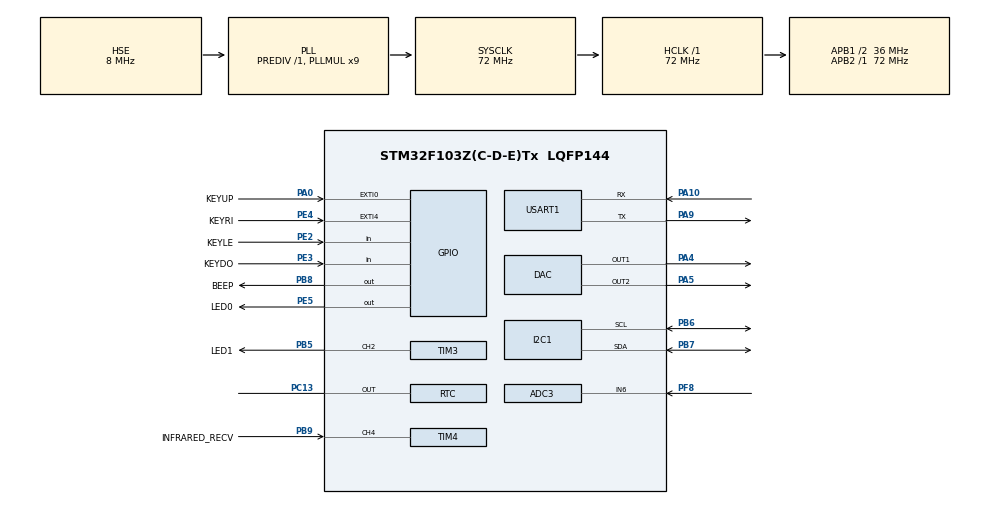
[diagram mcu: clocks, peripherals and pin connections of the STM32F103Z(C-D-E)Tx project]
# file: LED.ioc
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ADC1.Channel-2\#ChannelRegularConversion=ADC_CHANNEL_TEMPSENSOR
ADC1.NbrOfConversionFlag=1
ADC1.Rank-2\#ChannelRegularConversion=1
ADC1.SamplingTime-2\#ChannelRegularConversion=ADC_SAMPLETIME_1CYCLE_5
ADC1.master=1
ADC3.Channel-0\#ChannelRegularConversion=ADC_CHANNEL_6
ADC3.NbrOfConversionFlag=1
ADC3.Rank-0\#ChannelRegularConversion=1
ADC3.SamplingTime-0\#ChannelRegularConversion=ADC_SAMPLETIME_1CYCLE_5
DAC.DAC_Trigger2=DAC_TRIGGER_T2_TRGO
DAC.TriangleAmplitude2=DAC_TRIANGLEAMPLITUDE_4095
DAC.WaveGeneration2=TriangleWaveGeneration
Dma.ADC1.1.Direction=DMA_PERIPH_TO_MEMORY
Dma.ADC1.1.Instance=DMA1_Channel1
Dma.ADC1.1.MemDataAlignment=DMA_MDATAALIGN_HALFWORD
Dma.ADC1.1.MemInc=DMA_MINC_ENABLE
Dma.ADC1.1.Mode=DMA_CIRCULAR
Dma.ADC1.1.PeriphDataAlignment=DMA_PDATAALIGN_HALFWORD
Dma.ADC1.1.PeriphInc=DMA_PINC_DISABLE
Dma.ADC1.1.Priority=DMA_PRIORITY_LOW
Dma.ADC3.0.Direction=DMA_PERIPH_TO_MEMORY
Dma.ADC3.0.Instance=DMA2_Channel5
Dma.ADC3.0.MemDataAlignment=DMA_MDATAALIGN_HALFWORD
Dma.ADC3.0.MemInc=DMA_MINC_ENABLE
Dma.ADC3.0.Mode=DMA_CIRCULAR
Dma.ADC3.0.PeriphDataAlignment=DMA_PDATAALIGN_HALFWORD
Dma.ADC3.0.PeriphInc=DMA_PINC_DISABLE
Dma.ADC3.0.Priority=DMA_PRIORITY_LOW
Dma.Request0=ADC3
Dma.Request1=ADC1
Mcu.Family=STM32F1
Mcu.Name=STM32F103Z(C-D-E)Tx
Mcu.Package=LQFP144
NVIC.DMA1_Channel1_IRQn=true\:0\:0\:false\:false\:true\:false\:true
NVIC.DMA2_Channel4_5_IRQn=true\:0\:0\:false\:false\:true\:false\:true
NVIC.EXTI0_IRQn=true\:0\:0\:true\:false\:true\:true\:true
NVIC.EXTI4_IRQn=true\:0\:0\:false\:false\:true\:true\:true
NVIC.PriorityGroup=NVIC_PRIORITYGROUP_4
NVIC.RTC_IRQn=true\:0\:0\:false\:false\:true\:true\:true
NVIC.TIM4_IRQn=true\:0\:0\:false\:false\:true\:true\:true
NVIC.USART1_IRQn=true\:1\:0\:true\:false\:true\:true\:true
OSC_IN.Mode=HSE-External-Oscillator
OSC_IN.Signal=RCC_OSC_IN
OSC_OUT.Mode=HSE-External-Oscillator
OSC_OUT.Signal=RCC_OSC_OUT
PA0-WKUP.GPIO_Label=KEYUP
PA0-WKUP.GPIO_ModeDefaultEXTI=GPIO_MODE_IT_RISING
PA0-WKUP.GPIO_PuPd=GPIO_PULLDOWN
PA0-WKUP.Signal=GPXTI0
PA10.Mode=Asynchronous
PA10.Signal=USART1_RX
PA13.Mode=Serial_Wire
PA13.Signal=SYS_JTMS-SWDIO
PA14.Mode=Serial_Wire
PA14.Signal=SYS_JTCK-SWCLK
PA4.Signal=COMP_DAC1_group
PA5.Signal=COMP_DAC2_group
PA9.Mode=Asynchronous
PA9.Signal=USART1_TX
PB5.GPIO_Label=LED1
PB5.GPIO_ModeDefaultPP=GPIO_MODE_AF_PP
PB5.Signal=S_TIM3_CH2
PB6.Mode=I2C
PB6.Signal=I2C1_SCL
PB7.Mode=I2C
PB7.Signal=I2C1_SDA
PB8.GPIO_Label=BEEP
PB8.Signal=GPIO_Output
PB9.GPIO_Label=INFRARED_RECV
PB9.GPIO_PuPd=GPIO_NOPULL
PB9.Signal=S_TIM4_CH4
PC13-TAMPER-RTC.Mode=RTC OUT
PC13-TAMPER-RTC.Signal=RTC_OUT
PC14-OSC32_IN.Mode=LSE-External-Oscillator
PC14-OSC32_IN.Signal=RCC_OSC32_IN
PC15-OSC32_OUT.Mode=LSE-External-Oscillator
PC15-OSC32_OUT.Signal=RCC_OSC32_OUT
PE2.GPIO_Label=KEYLE
PE2.GPIO_PuPd=GPIO_PULLUP
PE2.Signal=GPIO_Input
PE3.GPIO_Label=KEYDO
PE3.GPIO_PuPd=GPIO_PULLUP
PE3.Signal=GPIO_Input
PE4.GPIO_Label=KEYRI
PE4.GPIO_PuPd=GPIO_PULLUP
PE4.Signal=GPXTI4
PE5.GPIO_Label=LED0
PE5.PinState=GPIO_PIN_SET
PE5.Signal=GPIO_Output
PF8.Mode=IN6
PF8.Signal=ADC3_IN6
ProjectManager.HeapSize=0x200
ProjectManager.StackSize=0x400
ProjectManager.TargetToolchain=MDK-ARM V5.27
RCC.ADCPresc=RCC_ADCPCLK2_DIV6
RCC.AHBFreq_Value=72000000
RCC.APB1CLKDivider=RCC_HCLK_DIV2
RCC.APB1Freq_Value=36000000
RCC.APB1TimFreq_Value=72000000
RCC.APB2Freq_Value=72000000
RCC.APB2TimFreq_Value=72000000
RCC.HCLKFreq_Value=72000000
RCC.PLLMUL=RCC_PLL_MUL9
RCC.PLLSourceVirtual=RCC_PLLSOURCE_HSE
RCC.RTCClockSelection=RCC_RTCCLKSOURCE_LSE
RCC.SYSCLKFreq_VALUE=72000000
RCC.SYSCLKSource=RCC_SYSCLKSOURCE_PLLCLK
RCC.USBFreq_Value=72000000
RTC.Date=18
RTC.Hours=9
RTC.Minutes=47
RTC.Month=RTC_MONTH_MARCH
RTC.WeekDay=RTC_WEEKDAY_WEDNESDAY
RTC.Year=32
SH.COMP_DAC1_group.0=DAC_OUT1,DAC_OUT1
SH.COMP_DAC2_group.0=DAC_OUT2,DAC_OUT2
SH.S_TIM3_CH2.0=TIM3_CH2,PWM Generation2 CH2
SH.S_TIM4_CH4.0=TIM4_CH4,Input_Capture4_from_TI4
TIM3.AutoReloadPreload=TIM_AUTORELOAD_PRELOAD_ENABLE
TIM3.Channel-PWM\ Generation2\ CH2=TIM_CHANNEL_2
TIM3.OC2Preload_PWM=DISABLE
TIM3.OCPolarity_2=TIM_OCPOLARITY_LOW
TIM3.Period=500
TIM3.Prescaler=720-1
TIM4.Channel-Input_Capture4_from_TI4=TIM_CHANNEL_4
TIM4.ICFilter_CH4=0
TIM4.Period=10000
TIM4.Prescaler=72-1
TIM4.TIM_MasterOutputTrigger=TIM_TRGO_RESET
USART1.VirtualMode=VM_ASYNC
VP_ADC1_TempSens_Input.Mode=IN-TempSens
VP_RTC_VS_RTC_Activate.Mode=RTC_Enabled
board=custom

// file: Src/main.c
/* USER CODE BEGIN Header */
/**
  ******************************************************************************
  * @file           : main.c
  * @brief          : Main program body
  ******************************************************************************
  * @attention
  *
  * <h2><center>&copy; Copyright (c) 2020 STMicroelectronics.
  * All rights reserved.</center></h2>
  *
  * This software component is licensed by ST under BSD 3-Clause license,
  * the "License"; You may not use this file except in compliance with the
  * License. You may obtain a copy of the License at:
  *                        opensource.org/licenses/BSD-3-Clause
  *
  ******************************************************************************
  */
/* USER CODE END Header */

#include "main.h"
#include "adc.h"
#include "dac.h"
#include "dma.h"
#include "i2c.h"
#include "rtc.h"
#include "tim.h"
#include "usart.h"
#include "gpio.h"

/* USER CODE BEGIN Includes */
#include "bsp_key.h"
#include "bsp_uart.h"
#include "bsp_dac.h"
#include "bsp_pwm.h"
#include "global_variable.h"
#include "tool.h"
#include "string.h"
#include "module_basedevice.h"
#include "app_key.h"
#include "app_pwm.h"
#include "app_adc.h"
#include "app_i2c.h"

/* USER CODE END Includes */

void SystemClock_Config(void);

int main(void)
{
  /* USER CODE BEGIN 1 */
	uint16_t i;
  /* USER CODE END 1 */

  /* MCU Configuration--------------------------------------------------------*/

  /* Reset of all peripherals, Initializes the Flash interface and the Systick. */
  HAL_Init();

  /* Configure the system clock */
  SystemClock_Config();

  /* Initialize all configured peripherals */
  MX_GPIO_Init();
  MX_USART1_UART_Init();
  MX_RTC_Init();
  MX_ADC1_Init();
  MX_ADC3_Init();
  MX_DAC_Init();
  MX_DMA_Init();
  MX_I2C1_Init();
  MX_TIM3_Init();
  MX_TIM4_Init();
  /* USER CODE BEGIN 2 */
	Moudle_Base_Init();
	USER_PRINTF("%s", BOOTLOGO);

  /* USER CODE END 2 */

  /* Infinite loop */
  while (1)
  {

    /* USER CODE BEGIN 3 */
#if(SERIALPORT)
		if(SERIALPORT_RECVBUFF.flag > 0)
		{
#if(DEBUG_MODE)
			for(i = 0; i < SERIALPORT_RECVBUFF.count; i++)
      {
				printf("%c", SERIALPORT_RECVBUFF.buff[i]);
      }
			printf("\r\n");
#endif //DEBUG_MODE
			SERIALPORT_RECVBUFF.flag--;
			SERIALPORT_RECVBUFF.count = 0;
			memset(SERIALPORT_RECVBUFF.buff, 0, SERIALPORT_RECVBUFF.count);
		}
#endif //SERIALPORT
		HAL_GPIO_TogglePin(LED0_GPIO_Port, LED0_Pin);
		HAL_Delay(1000);
//		App_Temperature_Light_Poll();
//		App_Temperature_Light_Dma();
//		App_Led_Pwm();
//		App_Infrared_Remote();
	}
  /* USER CODE END 3 */
}

void SystemClock_Config(void)
{
  RCC_OscInitTypeDef RCC_OscInitStruct = {0};
  RCC_ClkInitTypeDef RCC_ClkInitStruct = {0};
  RCC_PeriphCLKInitTypeDef PeriphClkInit = {0};

  /** Initializes the CPU, AHB and APB busses clocks
  */
  RCC_OscInitStruct.OscillatorType = RCC_OSCILLATORTYPE_HSE|RCC_OSCILLATORTYPE_LSE;
  RCC_OscInitStruct.HSEState = RCC_HSE_ON;
  RCC_OscInitStruct.HSEPredivValue = RCC_HSE_PREDIV_DIV1;
  RCC_OscInitStruct.LSEState = RCC_LSE_ON;
  RCC_OscInitStruct.HSIState = RCC_HSI_ON;
  RCC_OscInitStruct.PLL.PLLState = RCC_PLL_ON;
  RCC_OscInitStruct.PLL.PLLSource = RCC_PLLSOURCE_HSE;
  RCC_OscInitStruct.PLL.PLLMUL = RCC_PLL_MUL9;
  if (HAL_RCC_OscConfig(&RCC_OscInitStruct) != HAL_OK)
  {
    Error_Handler();
  }
  /** Initializes the CPU, AHB and APB busses clocks
  */
  RCC_ClkInitStruct.ClockType = RCC_CLOCKTYPE_HCLK|RCC_CLOCKTYPE_SYSCLK
                              |RCC_CLOCKTYPE_PCLK1|RCC_CLOCKTYPE_PCLK2;
  RCC_ClkInitStruct.SYSCLKSource = RCC_SYSCLKSOURCE_PLLCLK;
  RCC_ClkInitStruct.AHBCLKDivider = RCC_SYSCLK_DIV1;
  RCC_ClkInitStruct.APB1CLKDivider = RCC_HCLK_DIV2;
  RCC_ClkInitStruct.APB2CLKDivider = RCC_HCLK_DIV1;

  if (HAL_RCC_ClockConfig(&RCC_ClkInitStruct, FLASH_LATENCY_2) != HAL_OK)
  {
    Error_Handler();
  }
  PeriphClkInit.PeriphClockSelection = RCC_PERIPHCLK_RTC|RCC_PERIPHCLK_ADC;
  PeriphClkInit.RTCClockSelection = RCC_RTCCLKSOURCE_LSE;
  PeriphClkInit.AdcClockSelection = RCC_ADCPCLK2_DIV6;
  if (HAL_RCCEx_PeriphCLKConfig(&PeriphClkInit) != HAL_OK)
  {
    Error_Handler();
  }
}

void Error_Handler(void)
{
}

/************************ (C) COPYRIGHT STMicroelectronics *****END OF FILE****/
